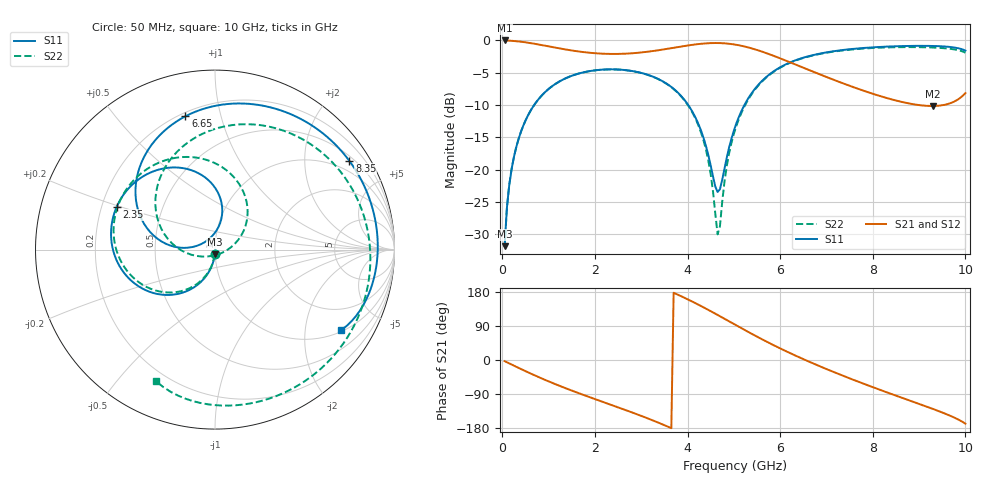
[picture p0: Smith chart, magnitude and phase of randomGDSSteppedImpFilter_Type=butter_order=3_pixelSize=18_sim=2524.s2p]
! freq	dB(S11)	phase(S11)	dB(S12)	phase(S12)
!  dB(S21)	phase(S21)	dB(S22)	phase(S22)
!S-par simulation data
#  GHz  S  DB  R 50
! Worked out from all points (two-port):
!   200 points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, 50 MHz to 10 GHz, reference 50 ohm
!   highest |S21| = -0.01 dB at 50 MHz (marker M1); lowest = -10.1 dB at 9.3 GHz (marker M2)
!   |S21| within 3 dB of the highest: start of sweep to 6.082 GHz
!   lowest |S11| = -31.8 dB at 50 MHz (marker M3), VSWR 1.05, Z = 49.8 - j2.55 ohm
!   |S11| at or under -10 dB: start of sweep to 688.4 MHz; 4.015 GHz to 5.229 GHz (1.214 GHz wide, 26.3 % of centre)
!   |S22| runs from -31.8 to -1.0 dB; largest |S21 - S12| = 0
!   S11 on the Smith chart (normalised r, x): 50 MHz: 1.00, -0.05; 2.35 GHz: 0.26, +0.19; 6.65 GHz: 0.22, +0.78; 8.35 GHz: 0.63, +3.21; 10 GHz: 1.05, -3.09
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0.05  -31.83 -93.0  -0.01 -3.0  -0.01 -3.0  -31.83 -93.2
0.1  -25.85 -96.1  -0.02 -6.0  -0.02 -6.0  -25.85 -96.4
0.2  -19.95 -102.0  -0.06 -12.0  -0.06 -12.0  -19.95 -102.8
0.5  -12.41 -119.0  -0.30 -29.4  -0.30 -29.4  -12.41 -120.9
1.05  -7.22 -147.5  -0.99 -59.0  -0.99 -59.0  -7.23 -151.5
1.75  -4.94 -179.0  -1.81 -92.1  -1.81 -92.1  -4.95 173.8
2.35  -4.48 156.5  -2.09 -118.4  -2.09 -118.4  -4.48 145.9
3.4  -6.08 113.2  -1.49 -166.8  -1.49 -166.8  -6.10 93.6
4.25  -13.19 79.3  -0.55 145.0  -0.55 145.0  -13.42 37.5
4.5  -19.34 85.2  -0.42 128.9  -0.42 128.9  -20.70 9.2
4.65  -23.45 124.2  -0.41 118.9  -0.41 118.9  -30.00 -60.5
4.85  -18.03 173.4  -0.48 105.3  -0.48 105.3  -19.32 -160.8
5.05  -12.92 176.0  -0.68 91.7  -0.68 91.7  -13.32 176.3
5.45  -7.54 160.1  -1.37 64.9  -1.37 64.9  -7.67 143.4
5.8  -5.09 142.7  -2.22 42.7  -2.22 42.7  -5.17 118.1
6.25  -3.30 120.8  -3.49 16.1  -3.49 16.1  -3.36 88.1
6.65  -2.38 102.6  -4.66 -5.8  -4.66 -5.8  -2.43 63.4
6.7  -2.29 100.3  -4.80 -8.4  -4.80 -8.4  -2.34 60.4
7.55  -1.33 64.7  -7.15 -50.8  -7.15 -50.8  -1.40 12.5
8.35  -0.94 33.4  -9.01 -87.4  -9.01 -87.4  -1.08 -28.7
9.3  -0.86 -2.4  -10.14 -129.2  -10.14 -129.2  -1.10 -74.9
10  -1.58 -32.7  -8.16 -168.0  -8.16 -168.0  -1.89 -114.1
